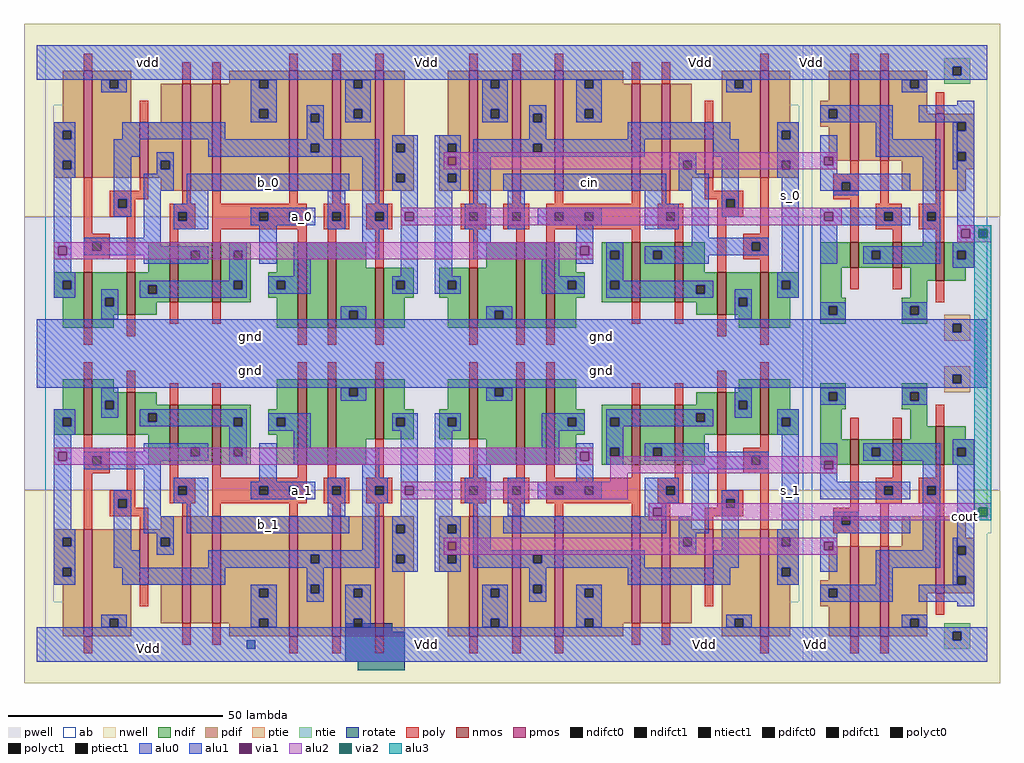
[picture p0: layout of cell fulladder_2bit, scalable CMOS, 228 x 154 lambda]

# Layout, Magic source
magic
tech scmos
<< rotate >>
rect 97 -65 108 -63
rect 74 -69 76 -67
rect 97 -72 111 -65
rect 100 -74 111 -72
<< ab >>
rect 27 58 204 72
rect 27 54 29 58
rect 31 54 201 58
rect 203 54 204 58
rect 27 -54 204 54
rect 27 -58 29 -54
rect 31 -58 201 -54
rect 203 -58 204 -54
rect 27 -72 204 -58
rect 206 -39 247 72
rect 206 -42 248 -39
rect 206 -72 247 -42
<< nwell >>
rect 22 32 250 77
rect 22 -77 250 -32
<< pwell >>
rect 22 -32 250 32
<< poly >>
rect 36 66 38 70
rect 59 63 61 68
rect 66 63 68 68
rect 84 66 86 70
rect 94 66 96 70
rect 104 66 106 70
rect 126 66 128 70
rect 136 66 138 70
rect 146 66 148 70
rect 49 54 51 59
rect 36 28 38 41
rect 49 38 51 41
rect 164 63 166 68
rect 171 63 173 68
rect 194 66 196 70
rect 215 66 217 70
rect 222 66 224 70
rect 181 54 183 59
rect 235 56 237 61
rect 215 42 217 45
rect 181 38 183 41
rect 42 36 51 38
rect 42 34 44 36
rect 46 34 48 36
rect 59 35 61 38
rect 66 35 68 38
rect 84 35 86 38
rect 94 35 96 38
rect 104 35 106 38
rect 126 35 128 38
rect 136 35 138 38
rect 146 35 148 38
rect 164 35 166 38
rect 171 35 173 38
rect 181 36 190 38
rect 42 32 48 34
rect 36 26 42 28
rect 36 24 38 26
rect 40 24 42 26
rect 36 22 42 24
rect 36 19 38 22
rect 46 19 48 32
rect 56 33 62 35
rect 56 31 58 33
rect 60 31 62 33
rect 56 29 62 31
rect 66 33 88 35
rect 66 31 77 33
rect 79 31 84 33
rect 86 31 88 33
rect 66 29 88 31
rect 92 33 98 35
rect 92 31 94 33
rect 96 31 98 33
rect 92 29 98 31
rect 102 33 108 35
rect 102 31 104 33
rect 106 31 108 33
rect 102 29 108 31
rect 124 33 130 35
rect 124 31 126 33
rect 128 31 130 33
rect 124 29 130 31
rect 134 33 140 35
rect 134 31 136 33
rect 138 31 140 33
rect 134 29 140 31
rect 144 33 166 35
rect 144 31 146 33
rect 148 31 153 33
rect 155 31 166 33
rect 144 29 166 31
rect 170 33 176 35
rect 170 31 172 33
rect 174 31 176 33
rect 170 29 176 31
rect 56 26 58 29
rect 66 26 68 29
rect 86 26 88 29
rect 93 26 95 29
rect 36 2 38 6
rect 46 4 48 9
rect 56 7 58 12
rect 66 7 68 12
rect 104 20 106 29
rect 126 20 128 29
rect 137 26 139 29
rect 144 26 146 29
rect 164 26 166 29
rect 174 26 176 29
rect 184 34 186 36
rect 188 34 190 36
rect 184 32 190 34
rect 184 19 186 32
rect 194 28 196 41
rect 211 40 217 42
rect 211 38 213 40
rect 215 38 217 40
rect 211 36 217 38
rect 190 26 196 28
rect 215 26 217 36
rect 222 35 224 45
rect 235 35 237 38
rect 221 33 227 35
rect 221 31 223 33
rect 225 31 227 33
rect 221 29 227 31
rect 231 33 237 35
rect 231 31 233 33
rect 235 31 237 33
rect 231 29 237 31
rect 225 26 227 29
rect 235 26 237 29
rect 190 24 192 26
rect 194 24 196 26
rect 190 22 196 24
rect 194 19 196 22
rect 164 7 166 12
rect 174 7 176 12
rect 86 2 88 6
rect 93 2 95 6
rect 104 2 106 6
rect 126 2 128 6
rect 137 2 139 6
rect 144 2 146 6
rect 184 4 186 9
rect 215 15 217 20
rect 225 15 227 20
rect 235 12 237 17
rect 194 2 196 6
rect 36 -6 38 -2
rect 46 -9 48 -4
rect 86 -6 88 -2
rect 93 -6 95 -2
rect 104 -6 106 -2
rect 126 -6 128 -2
rect 137 -6 139 -2
rect 144 -6 146 -2
rect 56 -12 58 -7
rect 66 -12 68 -7
rect 36 -22 38 -19
rect 36 -24 42 -22
rect 36 -26 38 -24
rect 40 -26 42 -24
rect 36 -28 42 -26
rect 36 -41 38 -28
rect 46 -32 48 -19
rect 42 -34 48 -32
rect 42 -36 44 -34
rect 46 -36 48 -34
rect 56 -29 58 -26
rect 66 -29 68 -26
rect 86 -29 88 -26
rect 93 -29 95 -26
rect 104 -29 106 -20
rect 126 -29 128 -20
rect 164 -12 166 -7
rect 174 -12 176 -7
rect 184 -9 186 -4
rect 194 -6 196 -2
rect 137 -29 139 -26
rect 144 -29 146 -26
rect 164 -29 166 -26
rect 174 -29 176 -26
rect 56 -31 62 -29
rect 56 -33 58 -31
rect 60 -33 62 -31
rect 56 -35 62 -33
rect 66 -31 88 -29
rect 66 -33 77 -31
rect 79 -33 84 -31
rect 86 -33 88 -31
rect 66 -35 88 -33
rect 92 -31 98 -29
rect 92 -33 94 -31
rect 96 -33 98 -31
rect 92 -35 98 -33
rect 102 -31 108 -29
rect 102 -33 104 -31
rect 106 -33 108 -31
rect 102 -35 108 -33
rect 124 -31 130 -29
rect 124 -33 126 -31
rect 128 -33 130 -31
rect 124 -35 130 -33
rect 134 -31 140 -29
rect 134 -33 136 -31
rect 138 -33 140 -31
rect 134 -35 140 -33
rect 144 -31 166 -29
rect 144 -33 146 -31
rect 148 -33 153 -31
rect 155 -33 166 -31
rect 144 -35 166 -33
rect 170 -31 176 -29
rect 170 -33 172 -31
rect 174 -33 176 -31
rect 170 -35 176 -33
rect 184 -32 186 -19
rect 194 -22 196 -19
rect 190 -24 196 -22
rect 190 -26 192 -24
rect 194 -26 196 -24
rect 215 -20 217 -15
rect 225 -20 227 -15
rect 235 -17 237 -12
rect 190 -28 196 -26
rect 184 -34 190 -32
rect 42 -38 51 -36
rect 59 -38 61 -35
rect 66 -38 68 -35
rect 84 -38 86 -35
rect 94 -38 96 -35
rect 104 -38 106 -35
rect 126 -38 128 -35
rect 136 -38 138 -35
rect 146 -38 148 -35
rect 164 -38 166 -35
rect 171 -38 173 -35
rect 184 -36 186 -34
rect 188 -36 190 -34
rect 181 -38 190 -36
rect 49 -41 51 -38
rect 49 -59 51 -54
rect 36 -70 38 -66
rect 59 -68 61 -63
rect 66 -68 68 -63
rect 181 -41 183 -38
rect 194 -41 196 -28
rect 215 -36 217 -26
rect 225 -29 227 -26
rect 235 -29 237 -26
rect 221 -31 227 -29
rect 221 -33 223 -31
rect 225 -33 227 -31
rect 221 -35 227 -33
rect 231 -31 237 -29
rect 231 -33 233 -31
rect 235 -33 237 -31
rect 231 -35 237 -33
rect 211 -38 217 -36
rect 211 -40 213 -38
rect 215 -40 217 -38
rect 181 -59 183 -54
rect 84 -70 86 -66
rect 94 -70 96 -66
rect 104 -70 106 -66
rect 126 -70 128 -66
rect 136 -70 138 -66
rect 146 -70 148 -66
rect 164 -68 166 -63
rect 171 -68 173 -63
rect 211 -42 217 -40
rect 215 -45 217 -42
rect 222 -45 224 -35
rect 235 -38 237 -35
rect 235 -61 237 -56
rect 194 -70 196 -66
rect 215 -70 217 -66
rect 222 -70 224 -66
<< ndif >>
rect 51 19 56 26
rect 29 17 36 19
rect 29 15 31 17
rect 33 15 36 17
rect 29 13 36 15
rect 31 6 36 13
rect 38 13 46 19
rect 38 11 41 13
rect 43 11 46 13
rect 38 9 46 11
rect 48 16 56 19
rect 48 14 51 16
rect 53 14 56 16
rect 48 12 56 14
rect 58 24 66 26
rect 58 22 61 24
rect 63 22 66 24
rect 58 12 66 22
rect 68 24 75 26
rect 68 22 71 24
rect 73 22 75 24
rect 68 17 75 22
rect 81 19 86 26
rect 68 15 71 17
rect 73 15 75 17
rect 68 12 75 15
rect 79 17 86 19
rect 79 15 81 17
rect 83 15 86 17
rect 79 13 86 15
rect 48 9 53 12
rect 38 6 43 9
rect 81 6 86 13
rect 88 6 93 26
rect 95 20 102 26
rect 130 20 137 26
rect 95 10 104 20
rect 95 8 98 10
rect 100 8 104 10
rect 95 6 104 8
rect 106 17 113 20
rect 106 15 109 17
rect 111 15 113 17
rect 106 13 113 15
rect 119 17 126 20
rect 119 15 121 17
rect 123 15 126 17
rect 119 13 126 15
rect 106 6 111 13
rect 121 6 126 13
rect 128 10 137 20
rect 128 8 132 10
rect 134 8 137 10
rect 128 6 137 8
rect 139 6 144 26
rect 146 19 151 26
rect 157 24 164 26
rect 157 22 159 24
rect 161 22 164 24
rect 146 17 153 19
rect 146 15 149 17
rect 151 15 153 17
rect 146 13 153 15
rect 157 17 164 22
rect 157 15 159 17
rect 161 15 164 17
rect 146 6 151 13
rect 157 12 164 15
rect 166 24 174 26
rect 166 22 169 24
rect 171 22 174 24
rect 166 12 174 22
rect 176 19 181 26
rect 208 20 215 26
rect 217 24 225 26
rect 217 22 220 24
rect 222 22 225 24
rect 217 20 225 22
rect 227 20 235 26
rect 176 16 184 19
rect 176 14 179 16
rect 181 14 184 16
rect 176 12 184 14
rect 179 9 184 12
rect 186 13 194 19
rect 186 11 189 13
rect 191 11 194 13
rect 186 9 194 11
rect 189 6 194 9
rect 196 17 203 19
rect 196 15 199 17
rect 201 15 203 17
rect 196 13 203 15
rect 208 13 213 20
rect 229 17 235 20
rect 237 24 244 26
rect 237 22 240 24
rect 242 22 244 24
rect 237 20 244 22
rect 237 17 242 20
rect 229 13 233 17
rect 196 6 201 13
rect 208 11 214 13
rect 208 9 210 11
rect 212 9 214 11
rect 208 7 214 9
rect 227 11 233 13
rect 227 9 229 11
rect 231 9 233 11
rect 227 7 233 9
rect 31 -13 36 -6
rect 29 -15 36 -13
rect 29 -17 31 -15
rect 33 -17 36 -15
rect 29 -19 36 -17
rect 38 -9 43 -6
rect 38 -11 46 -9
rect 38 -13 41 -11
rect 43 -13 46 -11
rect 38 -19 46 -13
rect 48 -12 53 -9
rect 48 -14 56 -12
rect 48 -16 51 -14
rect 53 -16 56 -14
rect 48 -19 56 -16
rect 51 -26 56 -19
rect 58 -22 66 -12
rect 58 -24 61 -22
rect 63 -24 66 -22
rect 58 -26 66 -24
rect 68 -15 75 -12
rect 81 -13 86 -6
rect 68 -17 71 -15
rect 73 -17 75 -15
rect 68 -22 75 -17
rect 79 -15 86 -13
rect 79 -17 81 -15
rect 83 -17 86 -15
rect 79 -19 86 -17
rect 68 -24 71 -22
rect 73 -24 75 -22
rect 68 -26 75 -24
rect 81 -26 86 -19
rect 88 -26 93 -6
rect 95 -8 104 -6
rect 95 -10 98 -8
rect 100 -10 104 -8
rect 95 -20 104 -10
rect 106 -13 111 -6
rect 121 -13 126 -6
rect 106 -15 113 -13
rect 106 -17 109 -15
rect 111 -17 113 -15
rect 106 -20 113 -17
rect 119 -15 126 -13
rect 119 -17 121 -15
rect 123 -17 126 -15
rect 119 -20 126 -17
rect 128 -8 137 -6
rect 128 -10 132 -8
rect 134 -10 137 -8
rect 128 -20 137 -10
rect 95 -26 102 -20
rect 130 -26 137 -20
rect 139 -26 144 -6
rect 146 -13 151 -6
rect 189 -9 194 -6
rect 179 -12 184 -9
rect 146 -15 153 -13
rect 146 -17 149 -15
rect 151 -17 153 -15
rect 146 -19 153 -17
rect 157 -15 164 -12
rect 157 -17 159 -15
rect 161 -17 164 -15
rect 146 -26 151 -19
rect 157 -22 164 -17
rect 157 -24 159 -22
rect 161 -24 164 -22
rect 157 -26 164 -24
rect 166 -22 174 -12
rect 166 -24 169 -22
rect 171 -24 174 -22
rect 166 -26 174 -24
rect 176 -14 184 -12
rect 176 -16 179 -14
rect 181 -16 184 -14
rect 176 -19 184 -16
rect 186 -11 194 -9
rect 186 -13 189 -11
rect 191 -13 194 -11
rect 186 -19 194 -13
rect 196 -13 201 -6
rect 208 -9 214 -7
rect 208 -11 210 -9
rect 212 -11 214 -9
rect 208 -13 214 -11
rect 227 -9 233 -7
rect 227 -11 229 -9
rect 231 -11 233 -9
rect 227 -13 233 -11
rect 196 -15 203 -13
rect 196 -17 199 -15
rect 201 -17 203 -15
rect 196 -19 203 -17
rect 176 -26 181 -19
rect 208 -20 213 -13
rect 229 -17 233 -13
rect 229 -20 235 -17
rect 208 -26 215 -20
rect 217 -22 225 -20
rect 217 -24 220 -22
rect 222 -24 225 -22
rect 217 -26 225 -24
rect 227 -26 235 -20
rect 237 -20 242 -17
rect 237 -22 244 -20
rect 237 -24 240 -22
rect 242 -24 244 -22
rect 237 -26 244 -24
<< pdif >>
rect 31 54 36 66
rect 29 52 36 54
rect 29 50 31 52
rect 33 50 36 52
rect 29 45 36 50
rect 29 43 31 45
rect 33 43 36 45
rect 29 41 36 43
rect 38 64 47 66
rect 38 62 42 64
rect 44 62 47 64
rect 70 64 84 66
rect 70 63 77 64
rect 38 54 47 62
rect 54 54 59 63
rect 38 41 49 54
rect 51 45 59 54
rect 51 43 54 45
rect 56 43 59 45
rect 51 41 59 43
rect 54 38 59 41
rect 61 38 66 63
rect 68 62 77 63
rect 79 62 84 64
rect 68 57 84 62
rect 68 55 77 57
rect 79 55 84 57
rect 68 38 84 55
rect 86 56 94 66
rect 86 54 89 56
rect 91 54 94 56
rect 86 49 94 54
rect 86 47 89 49
rect 91 47 94 49
rect 86 38 94 47
rect 96 64 104 66
rect 96 62 99 64
rect 101 62 104 64
rect 96 57 104 62
rect 96 55 99 57
rect 101 55 104 57
rect 96 38 104 55
rect 106 51 111 66
rect 121 51 126 66
rect 106 49 113 51
rect 106 47 109 49
rect 111 47 113 49
rect 106 42 113 47
rect 106 40 109 42
rect 111 40 113 42
rect 106 38 113 40
rect 119 49 126 51
rect 119 47 121 49
rect 123 47 126 49
rect 119 42 126 47
rect 119 40 121 42
rect 123 40 126 42
rect 119 38 126 40
rect 128 64 136 66
rect 128 62 131 64
rect 133 62 136 64
rect 128 57 136 62
rect 128 55 131 57
rect 133 55 136 57
rect 128 38 136 55
rect 138 56 146 66
rect 138 54 141 56
rect 143 54 146 56
rect 138 49 146 54
rect 138 47 141 49
rect 143 47 146 49
rect 138 38 146 47
rect 148 64 162 66
rect 148 62 153 64
rect 155 63 162 64
rect 185 64 194 66
rect 155 62 164 63
rect 148 57 164 62
rect 148 55 153 57
rect 155 55 164 57
rect 148 38 164 55
rect 166 38 171 63
rect 173 54 178 63
rect 185 62 188 64
rect 190 62 194 64
rect 185 54 194 62
rect 173 45 181 54
rect 173 43 176 45
rect 178 43 181 45
rect 173 41 181 43
rect 183 41 194 54
rect 196 54 201 66
rect 210 59 215 66
rect 208 57 215 59
rect 208 55 210 57
rect 212 55 215 57
rect 196 52 203 54
rect 208 53 215 55
rect 196 50 199 52
rect 201 50 203 52
rect 196 45 203 50
rect 210 45 215 53
rect 217 45 222 66
rect 224 64 233 66
rect 224 62 229 64
rect 231 62 233 64
rect 224 56 233 62
rect 224 45 235 56
rect 196 43 199 45
rect 201 43 203 45
rect 196 41 203 43
rect 173 38 178 41
rect 227 38 235 45
rect 237 54 244 56
rect 237 52 240 54
rect 242 52 244 54
rect 237 47 244 52
rect 237 45 240 47
rect 242 45 244 47
rect 237 43 244 45
rect 237 38 242 43
rect 54 -41 59 -38
rect 29 -43 36 -41
rect 29 -45 31 -43
rect 33 -45 36 -43
rect 29 -50 36 -45
rect 29 -52 31 -50
rect 33 -52 36 -50
rect 29 -54 36 -52
rect 31 -66 36 -54
rect 38 -54 49 -41
rect 51 -43 59 -41
rect 51 -45 54 -43
rect 56 -45 59 -43
rect 51 -54 59 -45
rect 38 -62 47 -54
rect 38 -64 42 -62
rect 44 -64 47 -62
rect 54 -63 59 -54
rect 61 -63 66 -38
rect 68 -55 84 -38
rect 68 -57 77 -55
rect 79 -57 84 -55
rect 68 -62 84 -57
rect 68 -63 77 -62
rect 38 -66 47 -64
rect 70 -64 77 -63
rect 79 -64 84 -62
rect 70 -66 84 -64
rect 86 -47 94 -38
rect 86 -49 89 -47
rect 91 -49 94 -47
rect 86 -54 94 -49
rect 86 -56 89 -54
rect 91 -56 94 -54
rect 86 -66 94 -56
rect 96 -55 104 -38
rect 96 -57 99 -55
rect 101 -57 104 -55
rect 96 -62 104 -57
rect 96 -64 99 -62
rect 101 -64 104 -62
rect 96 -66 104 -64
rect 106 -40 113 -38
rect 106 -42 109 -40
rect 111 -42 113 -40
rect 106 -47 113 -42
rect 106 -49 109 -47
rect 111 -49 113 -47
rect 106 -51 113 -49
rect 119 -40 126 -38
rect 119 -42 121 -40
rect 123 -42 126 -40
rect 119 -47 126 -42
rect 119 -49 121 -47
rect 123 -49 126 -47
rect 119 -51 126 -49
rect 106 -66 111 -51
rect 121 -66 126 -51
rect 128 -55 136 -38
rect 128 -57 131 -55
rect 133 -57 136 -55
rect 128 -62 136 -57
rect 128 -64 131 -62
rect 133 -64 136 -62
rect 128 -66 136 -64
rect 138 -47 146 -38
rect 138 -49 141 -47
rect 143 -49 146 -47
rect 138 -54 146 -49
rect 138 -56 141 -54
rect 143 -56 146 -54
rect 138 -66 146 -56
rect 148 -55 164 -38
rect 148 -57 153 -55
rect 155 -57 164 -55
rect 148 -62 164 -57
rect 148 -64 153 -62
rect 155 -63 164 -62
rect 166 -63 171 -38
rect 173 -41 178 -38
rect 173 -43 181 -41
rect 173 -45 176 -43
rect 178 -45 181 -43
rect 173 -54 181 -45
rect 183 -54 194 -41
rect 173 -63 178 -54
rect 185 -62 194 -54
rect 155 -64 162 -63
rect 148 -66 162 -64
rect 185 -64 188 -62
rect 190 -64 194 -62
rect 185 -66 194 -64
rect 196 -43 203 -41
rect 196 -45 199 -43
rect 201 -45 203 -43
rect 227 -45 235 -38
rect 196 -50 203 -45
rect 196 -52 199 -50
rect 201 -52 203 -50
rect 196 -54 203 -52
rect 210 -53 215 -45
rect 196 -66 201 -54
rect 208 -55 215 -53
rect 208 -57 210 -55
rect 212 -57 215 -55
rect 208 -59 215 -57
rect 210 -66 215 -59
rect 217 -66 222 -45
rect 224 -56 235 -45
rect 237 -43 242 -38
rect 237 -45 244 -43
rect 237 -47 240 -45
rect 242 -47 244 -45
rect 237 -52 244 -47
rect 237 -54 240 -52
rect 242 -54 244 -52
rect 237 -56 244 -54
rect 224 -62 233 -56
rect 224 -64 229 -62
rect 231 -64 233 -62
rect 224 -66 233 -64
<< alu1 >>
rect 25 67 247 72
rect 25 65 239 67
rect 241 65 247 67
rect 25 64 247 65
rect 240 58 244 59
rect 231 54 244 58
rect 29 52 34 54
rect 29 50 31 52
rect 33 50 34 52
rect 29 45 34 50
rect 29 43 31 45
rect 33 43 34 45
rect 29 41 34 43
rect 29 25 33 41
rect 60 38 98 42
rect 60 35 65 38
rect 57 33 65 35
rect 57 31 58 33
rect 60 31 65 33
rect 57 29 65 31
rect 75 33 90 34
rect 75 31 77 33
rect 79 31 84 33
rect 86 31 90 33
rect 75 30 90 31
rect 29 23 30 25
rect 32 23 33 25
rect 29 19 33 23
rect 29 17 34 19
rect 77 21 81 30
rect 108 49 114 51
rect 108 47 109 49
rect 111 47 114 49
rect 108 42 114 47
rect 108 40 109 42
rect 111 40 114 42
rect 108 38 114 40
rect 110 33 114 38
rect 110 31 111 33
rect 113 31 114 33
rect 110 18 114 31
rect 29 15 31 17
rect 33 15 34 17
rect 29 13 34 15
rect 108 17 114 18
rect 108 15 109 17
rect 111 15 114 17
rect 108 14 114 15
rect 118 49 124 51
rect 198 52 203 54
rect 198 50 199 52
rect 201 50 203 52
rect 118 47 121 49
rect 123 47 124 49
rect 118 46 124 47
rect 118 44 121 46
rect 123 44 124 46
rect 118 42 124 44
rect 118 40 121 42
rect 123 40 124 42
rect 118 38 124 40
rect 118 18 122 38
rect 134 38 172 42
rect 167 35 172 38
rect 142 33 157 34
rect 142 31 146 33
rect 148 31 153 33
rect 155 31 157 33
rect 142 30 157 31
rect 167 33 175 35
rect 167 31 172 33
rect 174 31 175 33
rect 151 25 155 30
rect 167 29 175 31
rect 198 45 203 50
rect 198 43 199 45
rect 201 43 203 45
rect 198 41 203 43
rect 151 23 152 25
rect 154 23 155 25
rect 151 21 155 23
rect 118 17 124 18
rect 118 15 121 17
rect 123 15 124 17
rect 118 14 124 15
rect 199 19 203 41
rect 208 46 212 51
rect 208 44 209 46
rect 211 44 212 46
rect 208 42 212 44
rect 208 40 229 42
rect 208 38 213 40
rect 215 38 229 40
rect 208 33 229 34
rect 208 31 209 33
rect 211 31 223 33
rect 225 31 229 33
rect 208 30 229 31
rect 242 52 244 54
rect 240 47 244 52
rect 242 45 244 47
rect 208 21 212 30
rect 240 29 244 45
rect 240 27 241 29
rect 243 27 244 29
rect 240 26 244 27
rect 239 24 244 26
rect 239 22 240 24
rect 242 22 244 24
rect 239 20 244 22
rect 198 17 203 19
rect 198 15 199 17
rect 201 15 203 17
rect 198 13 203 15
rect 25 7 247 8
rect 25 5 239 7
rect 241 5 247 7
rect 25 -5 247 5
rect 25 -7 239 -5
rect 241 -7 247 -5
rect 25 -8 247 -7
rect 29 -15 34 -13
rect 29 -17 31 -15
rect 33 -17 34 -15
rect 29 -19 34 -17
rect 29 -23 33 -19
rect 29 -25 30 -23
rect 32 -25 33 -23
rect 29 -41 33 -25
rect 108 -15 114 -14
rect 108 -17 109 -15
rect 111 -17 114 -15
rect 108 -18 114 -17
rect 29 -43 34 -41
rect 29 -45 31 -43
rect 33 -45 34 -43
rect 29 -50 34 -45
rect 57 -31 65 -29
rect 77 -30 81 -21
rect 57 -33 58 -31
rect 60 -33 65 -31
rect 57 -35 65 -33
rect 75 -31 90 -30
rect 75 -33 77 -31
rect 79 -33 84 -31
rect 86 -33 90 -31
rect 75 -34 90 -33
rect 60 -38 65 -35
rect 110 -31 114 -18
rect 110 -33 111 -31
rect 113 -33 114 -31
rect 60 -42 98 -38
rect 110 -38 114 -33
rect 108 -40 114 -38
rect 108 -42 109 -40
rect 111 -42 114 -40
rect 108 -47 114 -42
rect 108 -49 109 -47
rect 111 -49 114 -47
rect 29 -52 31 -50
rect 33 -52 34 -50
rect 29 -54 34 -52
rect 108 -51 114 -49
rect 118 -15 124 -14
rect 118 -17 121 -15
rect 123 -17 124 -15
rect 118 -18 124 -17
rect 198 -15 203 -13
rect 198 -17 199 -15
rect 201 -17 203 -15
rect 118 -38 122 -18
rect 151 -23 155 -21
rect 151 -25 152 -23
rect 154 -25 155 -23
rect 118 -40 124 -38
rect 118 -42 121 -40
rect 123 -42 124 -40
rect 118 -44 124 -42
rect 118 -46 121 -44
rect 123 -46 124 -44
rect 118 -47 124 -46
rect 118 -49 121 -47
rect 123 -49 124 -47
rect 118 -51 124 -49
rect 151 -30 155 -25
rect 198 -19 203 -17
rect 142 -31 157 -30
rect 142 -33 146 -31
rect 148 -33 153 -31
rect 155 -33 157 -31
rect 142 -34 157 -33
rect 167 -31 175 -29
rect 167 -33 172 -31
rect 174 -33 175 -31
rect 167 -35 175 -33
rect 167 -36 172 -35
rect 167 -38 169 -36
rect 171 -38 172 -36
rect 134 -42 172 -38
rect 199 -41 203 -19
rect 208 -25 212 -21
rect 208 -27 209 -25
rect 211 -27 212 -25
rect 208 -30 212 -27
rect 208 -31 229 -30
rect 208 -33 223 -31
rect 225 -33 229 -31
rect 208 -34 229 -33
rect 239 -22 244 -20
rect 239 -24 240 -22
rect 242 -24 244 -22
rect 239 -26 244 -24
rect 198 -43 203 -41
rect 198 -45 199 -43
rect 201 -45 203 -43
rect 198 -50 203 -45
rect 198 -52 199 -50
rect 201 -52 203 -50
rect 208 -40 213 -38
rect 215 -40 229 -38
rect 208 -42 229 -40
rect 208 -44 212 -42
rect 208 -46 209 -44
rect 211 -46 212 -44
rect 208 -51 212 -46
rect 198 -54 203 -52
rect 240 -45 244 -26
rect 242 -47 244 -45
rect 240 -52 244 -47
rect 242 -54 244 -52
rect 231 -58 244 -54
rect 240 -59 244 -58
rect 25 -65 247 -64
rect 25 -67 239 -65
rect 241 -67 247 -65
rect 25 -72 247 -67
<< alu2 >>
rect 120 46 212 47
rect 120 44 121 46
rect 123 44 209 46
rect 211 44 212 46
rect 120 43 212 44
rect 110 33 213 34
rect 110 31 111 33
rect 113 31 209 33
rect 211 31 213 33
rect 110 30 213 31
rect 240 29 248 30
rect 240 27 241 29
rect 243 27 245 29
rect 247 27 248 29
rect 240 26 248 27
rect 29 25 155 26
rect 29 23 30 25
rect 32 23 152 25
rect 154 23 155 25
rect 29 22 155 23
rect 29 -23 155 -22
rect 29 -25 30 -23
rect 32 -25 152 -23
rect 154 -25 155 -23
rect 29 -26 155 -25
rect 159 -25 212 -24
rect 159 -27 209 -25
rect 211 -27 212 -25
rect 159 -28 212 -27
rect 159 -30 163 -28
rect 110 -31 163 -30
rect 110 -33 111 -31
rect 113 -33 163 -31
rect 110 -34 163 -33
rect 168 -36 248 -35
rect 168 -38 169 -36
rect 171 -38 245 -36
rect 247 -38 248 -36
rect 168 -39 248 -38
rect 120 -44 212 -43
rect 120 -46 121 -44
rect 123 -46 209 -44
rect 211 -46 212 -44
rect 120 -47 212 -46
<< alu3 >>
rect 244 29 248 30
rect 244 27 245 29
rect 247 27 248 29
rect 244 -36 248 27
rect 244 -38 245 -36
rect 247 -38 248 -36
rect 244 -39 248 -38
<< ptie >>
rect 237 7 243 9
rect 237 5 239 7
rect 241 5 243 7
rect 237 3 243 5
rect 237 -5 243 -3
rect 237 -7 239 -5
rect 241 -7 243 -5
rect 237 -9 243 -7
<< ntie >>
rect 237 67 243 69
rect 237 65 239 67
rect 241 65 243 67
rect 237 63 243 65
rect 237 -65 243 -63
rect 237 -67 239 -65
rect 241 -67 243 -65
rect 237 -69 243 -67
<< nmos >>
rect 36 6 38 19
rect 46 9 48 19
rect 56 12 58 26
rect 66 12 68 26
rect 86 6 88 26
rect 93 6 95 26
rect 104 6 106 20
rect 126 6 128 20
rect 137 6 139 26
rect 144 6 146 26
rect 164 12 166 26
rect 174 12 176 26
rect 215 20 217 26
rect 225 20 227 26
rect 184 9 186 19
rect 194 6 196 19
rect 235 17 237 26
rect 36 -19 38 -6
rect 46 -19 48 -9
rect 56 -26 58 -12
rect 66 -26 68 -12
rect 86 -26 88 -6
rect 93 -26 95 -6
rect 104 -20 106 -6
rect 126 -20 128 -6
rect 137 -26 139 -6
rect 144 -26 146 -6
rect 164 -26 166 -12
rect 174 -26 176 -12
rect 184 -19 186 -9
rect 194 -19 196 -6
rect 215 -26 217 -20
rect 225 -26 227 -20
rect 235 -26 237 -17
<< pmos >>
rect 36 41 38 66
rect 49 41 51 54
rect 59 38 61 63
rect 66 38 68 63
rect 84 38 86 66
rect 94 38 96 66
rect 104 38 106 66
rect 126 38 128 66
rect 136 38 138 66
rect 146 38 148 66
rect 164 38 166 63
rect 171 38 173 63
rect 181 41 183 54
rect 194 41 196 66
rect 215 45 217 66
rect 222 45 224 66
rect 235 38 237 56
rect 36 -66 38 -41
rect 49 -54 51 -41
rect 59 -63 61 -38
rect 66 -63 68 -38
rect 84 -66 86 -38
rect 94 -66 96 -38
rect 104 -66 106 -38
rect 126 -66 128 -38
rect 136 -66 138 -38
rect 146 -66 148 -38
rect 164 -63 166 -38
rect 171 -63 173 -38
rect 181 -54 183 -41
rect 194 -66 196 -41
rect 215 -66 217 -45
rect 222 -66 224 -45
rect 235 -56 237 -38
<< polyct0 >>
rect 44 34 46 36
rect 38 24 40 26
rect 94 31 96 33
rect 104 31 106 33
rect 126 31 128 33
rect 136 31 138 33
rect 186 34 188 36
rect 233 31 235 33
rect 192 24 194 26
rect 38 -26 40 -24
rect 44 -36 46 -34
rect 94 -33 96 -31
rect 104 -33 106 -31
rect 126 -33 128 -31
rect 136 -33 138 -31
rect 192 -26 194 -24
rect 186 -36 188 -34
rect 233 -33 235 -31
<< polyct1 >>
rect 58 31 60 33
rect 77 31 79 33
rect 84 31 86 33
rect 146 31 148 33
rect 153 31 155 33
rect 172 31 174 33
rect 213 38 215 40
rect 223 31 225 33
rect 58 -33 60 -31
rect 77 -33 79 -31
rect 84 -33 86 -31
rect 146 -33 148 -31
rect 153 -33 155 -31
rect 172 -33 174 -31
rect 223 -33 225 -31
rect 213 -40 215 -38
<< ndifct0 >>
rect 41 11 43 13
rect 51 14 53 16
rect 61 22 63 24
rect 71 22 73 24
rect 71 15 73 17
rect 81 15 83 17
rect 98 8 100 10
rect 132 8 134 10
rect 159 22 161 24
rect 149 15 151 17
rect 159 15 161 17
rect 169 22 171 24
rect 220 22 222 24
rect 179 14 181 16
rect 189 11 191 13
rect 210 9 212 11
rect 229 9 231 11
rect 41 -13 43 -11
rect 51 -16 53 -14
rect 61 -24 63 -22
rect 71 -17 73 -15
rect 81 -17 83 -15
rect 71 -24 73 -22
rect 98 -10 100 -8
rect 132 -10 134 -8
rect 149 -17 151 -15
rect 159 -17 161 -15
rect 159 -24 161 -22
rect 169 -24 171 -22
rect 179 -16 181 -14
rect 189 -13 191 -11
rect 210 -11 212 -9
rect 229 -11 231 -9
rect 220 -24 222 -22
<< ndifct1 >>
rect 31 15 33 17
rect 109 15 111 17
rect 121 15 123 17
rect 199 15 201 17
rect 240 22 242 24
rect 31 -17 33 -15
rect 109 -17 111 -15
rect 121 -17 123 -15
rect 199 -17 201 -15
rect 240 -24 242 -22
<< ntiect1 >>
rect 239 65 241 67
rect 239 -67 241 -65
<< ptiect1 >>
rect 239 5 241 7
rect 239 -7 241 -5
<< pdifct0 >>
rect 42 62 44 64
rect 54 43 56 45
rect 77 62 79 64
rect 77 55 79 57
rect 89 54 91 56
rect 89 47 91 49
rect 99 62 101 64
rect 99 55 101 57
rect 131 62 133 64
rect 131 55 133 57
rect 141 54 143 56
rect 141 47 143 49
rect 153 62 155 64
rect 153 55 155 57
rect 188 62 190 64
rect 176 43 178 45
rect 210 55 212 57
rect 229 62 231 64
rect 54 -45 56 -43
rect 42 -64 44 -62
rect 77 -57 79 -55
rect 77 -64 79 -62
rect 89 -49 91 -47
rect 89 -56 91 -54
rect 99 -57 101 -55
rect 99 -64 101 -62
rect 131 -57 133 -55
rect 131 -64 133 -62
rect 141 -49 143 -47
rect 141 -56 143 -54
rect 153 -57 155 -55
rect 153 -64 155 -62
rect 176 -45 178 -43
rect 188 -64 190 -62
rect 210 -57 212 -55
rect 229 -64 231 -62
<< pdifct1 >>
rect 31 50 33 52
rect 31 43 33 45
rect 109 47 111 49
rect 109 40 111 42
rect 121 47 123 49
rect 121 40 123 42
rect 199 50 201 52
rect 199 43 201 45
rect 240 52 242 54
rect 240 45 242 47
rect 31 -45 33 -43
rect 31 -52 33 -50
rect 109 -42 111 -40
rect 109 -49 111 -47
rect 121 -42 123 -40
rect 121 -49 123 -47
rect 199 -45 201 -43
rect 199 -52 201 -50
rect 240 -47 242 -45
rect 240 -54 242 -52
<< alu0 >>
rect 40 62 42 64
rect 44 62 46 64
rect 40 61 46 62
rect 75 62 77 64
rect 79 62 81 64
rect 75 57 81 62
rect 97 62 99 64
rect 101 62 103 64
rect 75 55 77 57
rect 79 55 81 57
rect 75 54 81 55
rect 88 56 92 58
rect 88 54 89 56
rect 91 54 92 56
rect 97 57 103 62
rect 97 55 99 57
rect 101 55 103 57
rect 97 54 103 55
rect 129 62 131 64
rect 133 62 135 64
rect 129 57 135 62
rect 151 62 153 64
rect 155 62 157 64
rect 129 55 131 57
rect 133 55 135 57
rect 129 54 135 55
rect 140 56 144 58
rect 140 54 141 56
rect 143 54 144 56
rect 151 57 157 62
rect 186 62 188 64
rect 190 62 192 64
rect 186 61 192 62
rect 227 62 229 64
rect 231 62 233 64
rect 227 61 233 62
rect 151 55 153 57
rect 155 55 157 57
rect 151 54 157 55
rect 208 57 225 58
rect 208 55 210 57
rect 212 55 225 57
rect 208 54 225 55
rect 45 50 69 54
rect 88 50 92 54
rect 43 46 49 50
rect 65 49 105 50
rect 65 47 89 49
rect 91 47 105 49
rect 43 36 47 46
rect 53 45 57 47
rect 65 46 105 47
rect 53 43 54 45
rect 56 43 57 45
rect 53 42 57 43
rect 43 34 44 36
rect 46 34 47 36
rect 43 32 47 34
rect 50 38 57 42
rect 50 27 54 38
rect 93 33 97 38
rect 93 31 94 33
rect 96 31 97 33
rect 36 26 54 27
rect 36 24 38 26
rect 40 25 54 26
rect 40 24 65 25
rect 36 23 61 24
rect 50 22 61 23
rect 63 22 65 24
rect 50 21 65 22
rect 70 24 74 26
rect 70 22 71 24
rect 73 22 74 24
rect 70 17 74 22
rect 93 29 97 31
rect 101 35 105 46
rect 101 33 107 35
rect 101 31 104 33
rect 106 31 107 33
rect 101 29 107 31
rect 101 26 105 29
rect 85 22 105 26
rect 85 18 89 22
rect 49 16 71 17
rect 40 13 44 15
rect 49 14 51 16
rect 53 15 71 16
rect 73 15 74 17
rect 53 14 74 15
rect 79 17 89 18
rect 79 15 81 17
rect 83 15 89 17
rect 79 14 89 15
rect 140 50 144 54
rect 163 50 187 54
rect 127 49 167 50
rect 127 47 141 49
rect 143 47 167 49
rect 127 46 167 47
rect 127 35 131 46
rect 175 45 179 47
rect 183 46 189 50
rect 175 43 176 45
rect 178 43 179 45
rect 175 42 179 43
rect 175 38 182 42
rect 125 33 131 35
rect 125 31 126 33
rect 128 31 131 33
rect 125 29 131 31
rect 135 33 139 38
rect 135 31 136 33
rect 138 31 139 33
rect 135 29 139 31
rect 127 26 131 29
rect 127 22 147 26
rect 143 18 147 22
rect 178 27 182 38
rect 185 36 189 46
rect 185 34 186 36
rect 188 34 189 36
rect 185 32 189 34
rect 178 26 196 27
rect 158 24 162 26
rect 178 25 192 26
rect 158 22 159 24
rect 161 22 162 24
rect 143 17 153 18
rect 143 15 149 17
rect 151 15 153 17
rect 143 14 153 15
rect 158 17 162 22
rect 167 24 192 25
rect 194 24 196 26
rect 167 22 169 24
rect 171 23 196 24
rect 171 22 182 23
rect 167 21 182 22
rect 221 50 225 54
rect 221 46 236 50
rect 211 37 217 38
rect 232 33 236 46
rect 239 43 240 54
rect 232 31 233 33
rect 235 31 236 33
rect 232 25 236 31
rect 218 24 236 25
rect 218 22 220 24
rect 222 22 236 24
rect 218 21 236 22
rect 158 15 159 17
rect 161 16 183 17
rect 161 15 179 16
rect 158 14 179 15
rect 181 14 183 16
rect 49 13 74 14
rect 158 13 183 14
rect 188 13 192 15
rect 40 11 41 13
rect 43 11 44 13
rect 188 11 189 13
rect 191 11 192 13
rect 40 8 44 11
rect 96 10 102 11
rect 96 8 98 10
rect 100 8 102 10
rect 130 10 136 11
rect 130 8 132 10
rect 134 8 136 10
rect 188 8 192 11
rect 208 11 214 12
rect 208 9 210 11
rect 212 9 214 11
rect 208 8 214 9
rect 227 11 233 12
rect 227 9 229 11
rect 231 9 233 11
rect 227 8 233 9
rect 40 -11 44 -8
rect 96 -10 98 -8
rect 100 -10 102 -8
rect 96 -11 102 -10
rect 130 -10 132 -8
rect 134 -10 136 -8
rect 130 -11 136 -10
rect 188 -11 192 -8
rect 40 -13 41 -11
rect 43 -13 44 -11
rect 188 -13 189 -11
rect 191 -13 192 -11
rect 208 -9 214 -8
rect 208 -11 210 -9
rect 212 -11 214 -9
rect 208 -12 214 -11
rect 227 -9 233 -8
rect 227 -11 229 -9
rect 231 -11 233 -9
rect 227 -12 233 -11
rect 40 -15 44 -13
rect 49 -14 74 -13
rect 158 -14 183 -13
rect 49 -16 51 -14
rect 53 -15 74 -14
rect 53 -16 71 -15
rect 49 -17 71 -16
rect 73 -17 74 -15
rect 50 -22 65 -21
rect 50 -23 61 -22
rect 36 -24 61 -23
rect 63 -24 65 -22
rect 36 -26 38 -24
rect 40 -25 65 -24
rect 70 -22 74 -17
rect 79 -15 89 -14
rect 79 -17 81 -15
rect 83 -17 89 -15
rect 79 -18 89 -17
rect 70 -24 71 -22
rect 73 -24 74 -22
rect 40 -26 54 -25
rect 70 -26 74 -24
rect 36 -27 54 -26
rect 43 -34 47 -32
rect 43 -36 44 -34
rect 46 -36 47 -34
rect 43 -46 47 -36
rect 50 -38 54 -27
rect 85 -22 89 -18
rect 85 -26 105 -22
rect 101 -29 105 -26
rect 93 -31 97 -29
rect 93 -33 94 -31
rect 96 -33 97 -31
rect 93 -38 97 -33
rect 101 -31 107 -29
rect 101 -33 104 -31
rect 106 -33 107 -31
rect 101 -35 107 -33
rect 50 -42 57 -38
rect 53 -43 57 -42
rect 53 -45 54 -43
rect 56 -45 57 -43
rect 43 -50 49 -46
rect 53 -47 57 -45
rect 101 -46 105 -35
rect 65 -47 105 -46
rect 65 -49 89 -47
rect 91 -49 105 -47
rect 65 -50 105 -49
rect 45 -54 69 -50
rect 88 -54 92 -50
rect 143 -15 153 -14
rect 143 -17 149 -15
rect 151 -17 153 -15
rect 143 -18 153 -17
rect 158 -15 179 -14
rect 158 -17 159 -15
rect 161 -16 179 -15
rect 181 -16 183 -14
rect 188 -15 192 -13
rect 161 -17 183 -16
rect 143 -22 147 -18
rect 127 -26 147 -22
rect 127 -29 131 -26
rect 125 -31 131 -29
rect 125 -33 126 -31
rect 128 -33 131 -31
rect 125 -35 131 -33
rect 127 -46 131 -35
rect 135 -31 139 -29
rect 158 -22 162 -17
rect 158 -24 159 -22
rect 161 -24 162 -22
rect 158 -26 162 -24
rect 167 -22 182 -21
rect 167 -24 169 -22
rect 171 -23 182 -22
rect 171 -24 196 -23
rect 167 -25 192 -24
rect 178 -26 192 -25
rect 194 -26 196 -24
rect 178 -27 196 -26
rect 135 -33 136 -31
rect 138 -33 139 -31
rect 135 -38 139 -33
rect 178 -38 182 -27
rect 175 -42 182 -38
rect 185 -34 189 -32
rect 185 -36 186 -34
rect 188 -36 189 -34
rect 175 -43 179 -42
rect 175 -45 176 -43
rect 178 -45 179 -43
rect 127 -47 167 -46
rect 175 -47 179 -45
rect 185 -46 189 -36
rect 218 -22 236 -21
rect 218 -24 220 -22
rect 222 -24 236 -22
rect 218 -25 236 -24
rect 232 -31 236 -25
rect 232 -33 233 -31
rect 235 -33 236 -31
rect 211 -38 217 -37
rect 127 -49 141 -47
rect 143 -49 167 -47
rect 127 -50 167 -49
rect 183 -50 189 -46
rect 140 -54 144 -50
rect 163 -54 187 -50
rect 232 -46 236 -33
rect 221 -50 236 -46
rect 221 -54 225 -50
rect 239 -54 240 -43
rect 75 -55 81 -54
rect 75 -57 77 -55
rect 79 -57 81 -55
rect 40 -62 46 -61
rect 40 -64 42 -62
rect 44 -64 46 -62
rect 75 -62 81 -57
rect 88 -56 89 -54
rect 91 -56 92 -54
rect 88 -58 92 -56
rect 97 -55 103 -54
rect 97 -57 99 -55
rect 101 -57 103 -55
rect 75 -64 77 -62
rect 79 -64 81 -62
rect 97 -62 103 -57
rect 97 -64 99 -62
rect 101 -64 103 -62
rect 129 -55 135 -54
rect 129 -57 131 -55
rect 133 -57 135 -55
rect 129 -62 135 -57
rect 140 -56 141 -54
rect 143 -56 144 -54
rect 140 -58 144 -56
rect 151 -55 157 -54
rect 151 -57 153 -55
rect 155 -57 157 -55
rect 129 -64 131 -62
rect 133 -64 135 -62
rect 151 -62 157 -57
rect 208 -55 225 -54
rect 208 -57 210 -55
rect 212 -57 225 -55
rect 208 -58 225 -57
rect 151 -64 153 -62
rect 155 -64 157 -62
rect 186 -62 192 -61
rect 186 -64 188 -62
rect 190 -64 192 -62
rect 227 -62 233 -61
rect 227 -64 229 -62
rect 231 -64 233 -62
<< via1 >>
rect 30 23 32 25
rect 111 31 113 33
rect 121 44 123 46
rect 152 23 154 25
rect 209 44 211 46
rect 209 31 211 33
rect 241 27 243 29
rect 30 -25 32 -23
rect 111 -33 113 -31
rect 152 -25 154 -23
rect 121 -46 123 -44
rect 169 -38 171 -36
rect 209 -27 211 -25
rect 209 -46 211 -44
<< via2 >>
rect 245 27 247 29
rect 245 -38 247 -36
<< labels >>
rlabel alu1 75 4 75 4 1 gnd
rlabel alu1 157 4 157 4 1 gnd
rlabel alu1 154 40 154 40 1 cin
rlabel alu1 242 -38 242 -38 5 cout
rlabel alu1 157 -4 157 -4 5 gnd
rlabel alu1 75 -4 75 -4 5 gnd
rlabel alu1 79 40 79 40 1 b_0
rlabel alu1 87 32 87 32 1 a_0
rlabel alu1 87 -32 87 -32 1 a_1
rlabel alu1 79 -40 79 -40 1 b_1
rlabel alu1 201 -32 201 -32 1 s_1
rlabel alu1 201 37 201 37 1 s_0
rlabel alu1 180 68 180 68 1 Vdd
rlabel alu1 206 68 206 68 1 Vdd
rlabel alu1 116 68 116 68 1 Vdd
rlabel alu1 51 68 51 68 1 vdd
rlabel alu1 51 -69 51 -69 1 Vdd
rlabel alu1 116 -68 116 -68 1 Vdd
rlabel alu1 207 -68 207 -68 1 Vdd
rlabel alu1 181 -68 181 -68 1 Vdd
<< end >>
